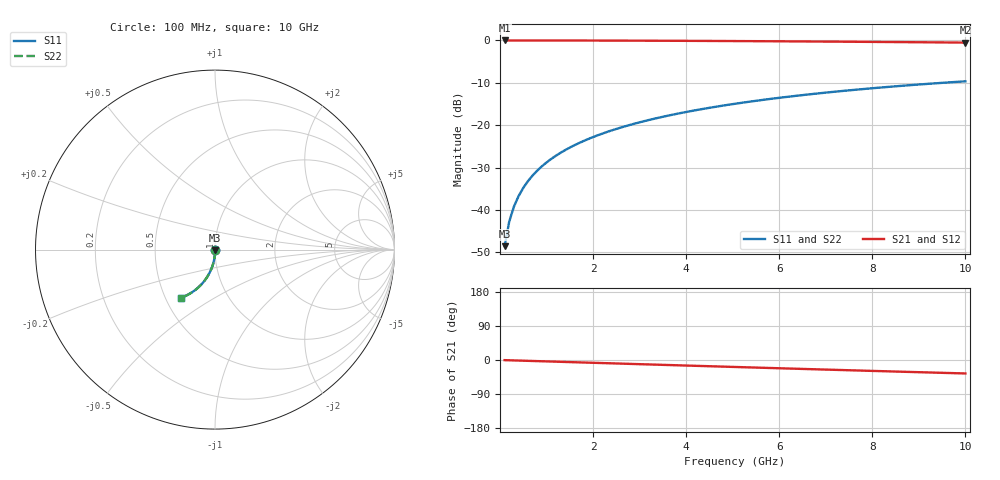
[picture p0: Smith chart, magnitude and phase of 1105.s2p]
# Hz S RI R 50.00
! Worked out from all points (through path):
!   100 points, 100 MHz to 10 GHz, reference 50 ohm
!   highest |S21| = -0.01 dB at 100 MHz (marker M1); lowest = -0.5 dB at 10 GHz (marker M2)
!   group delay of S21, straight-line fit = 9.89 ps
!   lowest |S11| = -48.5 dB at 100 MHz (marker M3), VSWR 1.01, Z = 50.1 - j0.365 ohm
!   |S11| at or under -10 dB: start of sweep to 9.514 GHz
!   |S22| runs from -48.5 to -9.6 dB; largest |S21 - S12| = 0
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1e8  0.000855 -0.00364  0.9991 -0.00641  0.9991 -0.00641  0.000855 -0.00364
2e8  0.000786 -0.00728  0.999 -0.0128  0.999 -0.0128  0.000786 -0.00728
3e8  0.000669 -0.0109  0.9988 -0.0192  0.9988 -0.0192  0.000669 -0.0109
4e8  0.000504 -0.0146  0.9986 -0.0256  0.9986 -0.0256  0.000504 -0.0146
5e8  0.000293 -0.0182  0.9984 -0.032  0.9984 -0.032  0.000293 -0.0182
6e8  3.45e-05 -0.0218  0.9981 -0.0384  0.9981 -0.0384  3.45e-05 -0.0218
7e8  -0.000271 -0.0254  0.9977 -0.0448  0.9977 -0.0448  -0.000271 -0.0254
8e8  -0.000622 -0.0291  0.9973 -0.0512  0.9973 -0.0512  -0.000622 -0.0291
9e8  -0.00102 -0.0327  0.9968 -0.0576  0.9968 -0.0576  -0.00102 -0.0327
1.1e9  -0.00196 -0.0399  0.9958 -0.0704  0.9958 -0.0704  -0.00196 -0.0399
1.4e9  -0.0037 -0.0507  0.9937 -0.0894  0.9937 -0.0894  -0.0037 -0.0507
1.8e9  -0.00667 -0.0649  0.9902 -0.1147  0.9902 -0.1147  -0.00667 -0.0649
2.1e9  -0.00937 -0.0754  0.9871 -0.1336  0.9871 -0.1336  -0.00937 -0.0754
2.5e9  -0.0136 -0.0893  0.9821 -0.1585  0.9821 -0.1585  -0.0136 -0.0893
2.9e9  -0.0185 -0.1029  0.9764 -0.1832  0.9764 -0.1832  -0.0185 -0.1029
3.4e9  -0.0256 -0.1195  0.9681 -0.2137  0.9681 -0.2137  -0.0256 -0.1195
4.2e9  -0.039 -0.1448  0.9523 -0.2613  0.9523 -0.2613  -0.039 -0.1448
5.1e9  -0.0568 -0.1714  0.9311 -0.313  0.9311 -0.313  -0.0568 -0.1714
5.9e9  -0.075 -0.193  0.9095 -0.3569  0.9095 -0.3569  -0.075 -0.193
6.7e9  -0.095 -0.2125  0.8855 -0.3988  0.8855 -0.3988  -0.095 -0.2125
8.4e9  -0.1423 -0.2465  0.8278 -0.4805  0.8278 -0.4805  -0.1423 -0.2465
1e10  -0.1909 -0.2685  0.7671 -0.5477  0.7671 -0.5477  -0.1909 -0.2685
